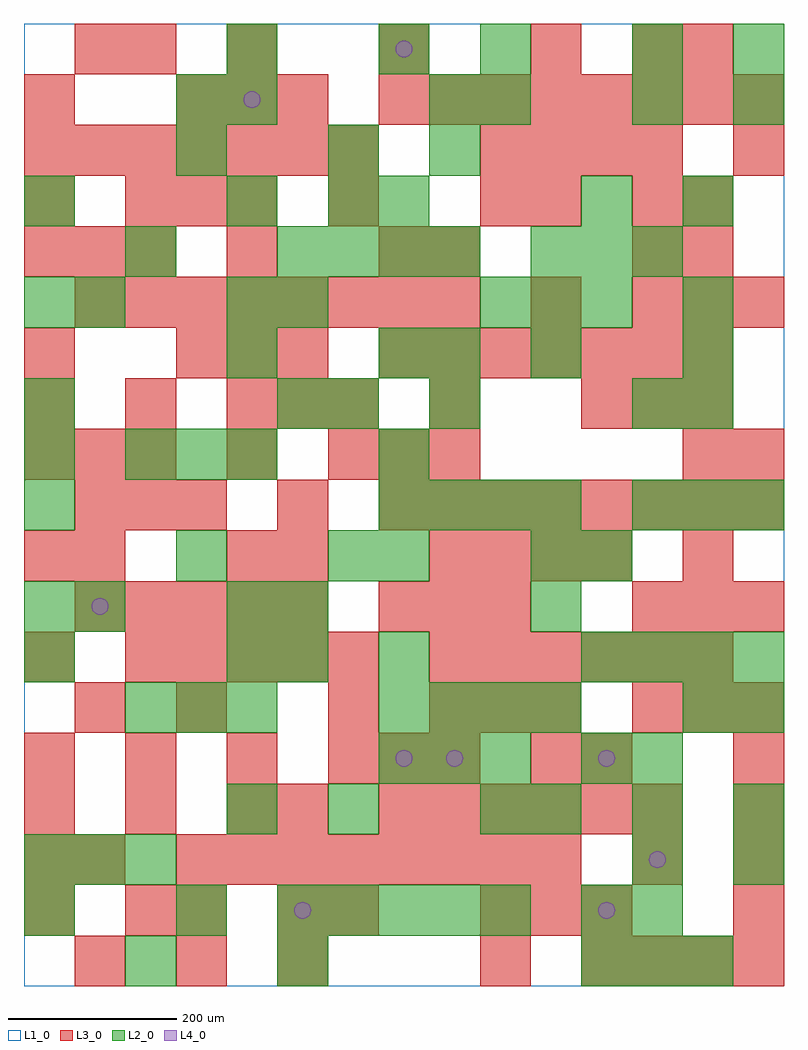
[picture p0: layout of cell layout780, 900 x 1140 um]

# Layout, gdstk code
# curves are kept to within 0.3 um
import gdstk
lib = gdstk.Library(unit=1e-6, precision=1e-09)
def R(c, l, rs):  # rectangles x0, y0, x1, y1
    for r in rs: c.add(gdstk.rectangle(r[:2], r[2:], *l))
def A(c, l, x, y, w, h, nx, ny, dx, dy):  # array of equal rectangles
    R(c, l, [(x+i*dx, y+j*dy, x+i*dx+w, y+j*dy+h) for i in range(nx) for j in range(ny)])
def P(c, l, *ps):  # polygons
    for p in ps: c.add(gdstk.Polygon(p, *l))
L1_0 = (1, 0)
L2_0 = (2, 0)
L3_0 = (3, 0)
L4_0 = (4, 0)

layout780 = lib.new_cell('layout780')
R(layout780, L1_0, [(0,0,900,1140)])
A(layout780, L2_0, 660, 0, 60, 60, 3, 1, 60, 0)
A(layout780, L2_0, 300, 60, 60, 60, 5, 1, 60, 0)
A(layout780, L2_0, 0, 120, 60, 60, 3, 1, 60, 0)
A(layout780, L2_0, 600, 180, 60, 60, 3, 1, 120, 0)
A(layout780, L2_0, 420, 240, 60, 60, 3, 1, 60, 0)
A(layout780, L2_0, 120, 300, 60, 60, 3, 2, 60, 300)
A(layout780, L2_0, 420, 300, 60, 60, 4, 2, 60, 240)
A(layout780, L2_0, 420, 360, 60, 60, 1, 4, 0, 120)
A(layout780, L2_0, 660, 360, 60, 60, 4, 1, 60, 0)
A(layout780, L2_0, 0, 540, 60, 60, 1, 3, 0, 60)
A(layout780, L2_0, 720, 540, 60, 60, 3, 1, 60, 0)
A(layout780, L2_0, 780, 660, 60, 60, 1, 3, 0, 60)
A(layout780, L2_0, 240, 780, 60, 60, 1, 3, 0, 120)
A(layout780, L2_0, 540, 780, 60, 60, 3, 1, 60, 0)
A(layout780, L2_0, 300, 840, 60, 60, 4, 1, 60, 0)
A(layout780, L2_0, 600, 840, 60, 60, 3, 1, 60, 0)
R(layout780, L2_0, [(120,0,180,60), (300,0,360,60), (0,60,60,120), (180,60,240,120), (660,60,720,120), (720,60,780,120), (720,120,780,180), (840,120,900,180), (240,180,300,240), (360,180,420,240), (540,180,600,240), (660,240,720,300), (720,240,780,300), (780,300,840,360), (840,300,900,360), (0,360,60,420), (240,360,300,420), (300,360,360,420), (0,420,60,480), (60,420,120,480), (240,420,300,480), (300,420,360,480), (600,420,660,480), (180,480,240,540), (360,480,420,540), (600,480,660,540), (660,480,720,540), (300,660,360,720), (360,660,420,720), (480,660,540,720), (720,660,780,720), (240,720,300,780), (480,720,540,780), (600,720,660,780), (0,780,60,840), (60,780,120,840), (300,780,360,840), (120,840,180,900), (0,900,60,960), (360,900,420,960), (420,900,480,960), (660,900,720,960), (780,900,840,960), (180,960,240,1020), (360,960,420,1020), (480,960,540,1020), (180,1020,240,1080), (480,1020,540,1080), (540,1020,600,1080), (720,1020,780,1080), (840,1020,900,1080), (240,1080,300,1140), (420,1080,480,1140), (540,1080,600,1140), (720,1080,780,1140), (840,1080,900,1140)])
A(layout780, L3_0, 60, 0, 60, 60, 3, 1, 120, 0)
A(layout780, L3_0, 660, 0, 60, 60, 4, 1, 60, 0)
A(layout780, L3_0, 540, 60, 60, 60, 3, 1, 60, 0)
A(layout780, L3_0, 840, 60, 60, 60, 1, 4, 0, 60)
A(layout780, L3_0, 60, 120, 60, 60, 1, 3, 0, 180)
A(layout780, L3_0, 180, 120, 60, 60, 8, 1, 60, 0)
A(layout780, L3_0, 0, 180, 60, 60, 3, 2, 120, 480)
A(layout780, L3_0, 420, 180, 60, 60, 6, 1, 60, 0)
A(layout780, L3_0, 0, 240, 60, 60, 4, 1, 120, 0)
A(layout780, L3_0, 480, 300, 60, 60, 3, 1, 60, 0)
A(layout780, L3_0, 720, 300, 60, 60, 3, 2, 60, 120)
A(layout780, L3_0, 120, 360, 60, 60, 5, 1, 60, 0)
A(layout780, L3_0, 480, 360, 60, 60, 6, 1, 60, 0)
A(layout780, L3_0, 60, 420, 60, 60, 5, 1, 60, 0)
A(layout780, L3_0, 420, 420, 60, 60, 3, 1, 60, 0)
A(layout780, L3_0, 480, 480, 60, 60, 4, 1, 60, 0)
A(layout780, L3_0, 60, 540, 60, 60, 3, 1, 60, 0)
A(layout780, L3_0, 420, 540, 60, 60, 8, 2, 60, 480)
A(layout780, L3_0, 0, 600, 60, 60, 3, 2, 60, 240)
A(layout780, L3_0, 360, 600, 60, 60, 3, 1, 60, 0)
A(layout780, L3_0, 660, 660, 60, 60, 3, 1, 60, 0)
A(layout780, L3_0, 180, 720, 60, 60, 3, 2, 60, 300)
A(layout780, L3_0, 420, 720, 60, 60, 7, 1, 60, 0)
A(layout780, L3_0, 60, 780, 60, 60, 8, 1, 60, 0)
A(layout780, L3_0, 720, 780, 60, 60, 3, 1, 60, 0)
A(layout780, L3_0, 120, 900, 60, 60, 3, 1, 60, 0)
A(layout780, L3_0, 0, 960, 60, 60, 7, 1, 60, 0)
A(layout780, L3_0, 540, 960, 60, 60, 4, 1, 60, 0)
A(layout780, L3_0, 240, 1080, 60, 60, 3, 1, 180, 0)
R(layout780, L3_0, [(540,0,600,60), (0,60,60,120), (120,60,180,120), (180,60,240,120), (300,60,360,120), (360,60,420,120), (0,120,60,180), (720,120,780,180), (300,180,360,240), (420,240,480,300), (480,240,540,300), (600,240,660,300), (660,240,720,300), (180,300,240,360), (360,300,420,360), (0,360,60,420), (0,480,60,540), (240,480,300,540), (300,480,360,540), (780,480,840,540), (300,540,360,600), (240,600,300,660), (780,600,840,660), (840,600,900,660), (300,660,360,720), (360,660,420,720), (480,660,540,720), (0,720,60,780), (600,780,660,840), (240,840,300,900), (420,840,480,900), (480,840,540,900), (720,840,780,900), (780,840,840,900), (0,900,60,960), (360,900,420,960), (540,900,600,960), (600,900,660,960), (720,900,780,960), (780,900,840,960), (840,960,900,1020), (0,1020,60,1080), (60,1080,120,1140), (120,1080,180,1140), (720,1080,780,1140), (780,1080,840,1140)])
P(layout780, L4_0, [(100,450),(99.239,453.827),(97.071,457.071),(93.827,459.239),(90,460),(86.173,459.239),(82.929,457.071),(80.761,453.827),(80,450),(80.761,446.173),(82.929,442.929),(86.173,440.761),(90,440),(93.827,440.761),(97.071,442.929),(99.239,446.173)],
  [(280,1050),(279.239,1053.827),(277.071,1057.071),(273.827,1059.239),(270,1060),(266.173,1059.239),(262.929,1057.071),(260.761,1053.827),(260,1050),(260.761,1046.173),(262.929,1042.929),(266.173,1040.761),(270,1040),(273.827,1040.761),(277.071,1042.929),(279.239,1046.173)],
  [(340,90),(339.239,93.827),(337.071,97.071),(333.827,99.239),(330,100),(326.173,99.239),(322.929,97.071),(320.761,93.827),(320,90),(320.761,86.173),(322.929,82.929),(326.173,80.761),(330,80),(333.827,80.761),(337.071,82.929),(339.239,86.173)],
  [(460,270),(459.239,273.827),(457.071,277.071),(453.827,279.239),(450,280),(446.173,279.239),(442.929,277.071),(440.761,273.827),(440,270),(440.761,266.173),(442.929,262.929),(446.173,260.761),(450,260),(453.827,260.761),(457.071,262.929),(459.239,266.173)],
  [(460,1110),(459.239,1113.827),(457.071,1117.071),(453.827,1119.239),(450,1120),(446.173,1119.239),(442.929,1117.071),(440.761,1113.827),(440,1110),(440.761,1106.173),(442.929,1102.929),(446.173,1100.761),(450,1100),(453.827,1100.761),(457.071,1102.929),(459.239,1106.173)],
  [(520,270),(519.239,273.827),(517.071,277.071),(513.827,279.239),(510,280),(506.173,279.239),(502.929,277.071),(500.761,273.827),(500,270),(500.761,266.173),(502.929,262.929),(506.173,260.761),(510,260),(513.827,260.761),(517.071,262.929),(519.239,266.173)],
  [(700,90),(699.239,93.827),(697.071,97.071),(693.827,99.239),(690,100),(686.173,99.239),(682.929,97.071),(680.761,93.827),(680,90),(680.761,86.173),(682.929,82.929),(686.173,80.761),(690,80),(693.827,80.761),(697.071,82.929),(699.239,86.173)],
  [(700,270),(699.239,273.827),(697.071,277.071),(693.827,279.239),(690,280),(686.173,279.239),(682.929,277.071),(680.761,273.827),(680,270),(680.761,266.173),(682.929,262.929),(686.173,260.761),(690,260),(693.827,260.761),(697.071,262.929),(699.239,266.173)],
  [(760,150),(759.239,153.827),(757.071,157.071),(753.827,159.239),(750,160),(746.173,159.239),(742.929,157.071),(740.761,153.827),(740,150),(740.761,146.173),(742.929,142.929),(746.173,140.761),(750,140),(753.827,140.761),(757.071,142.929),(759.239,146.173)])

lib.write_gds('layout780.gds')
